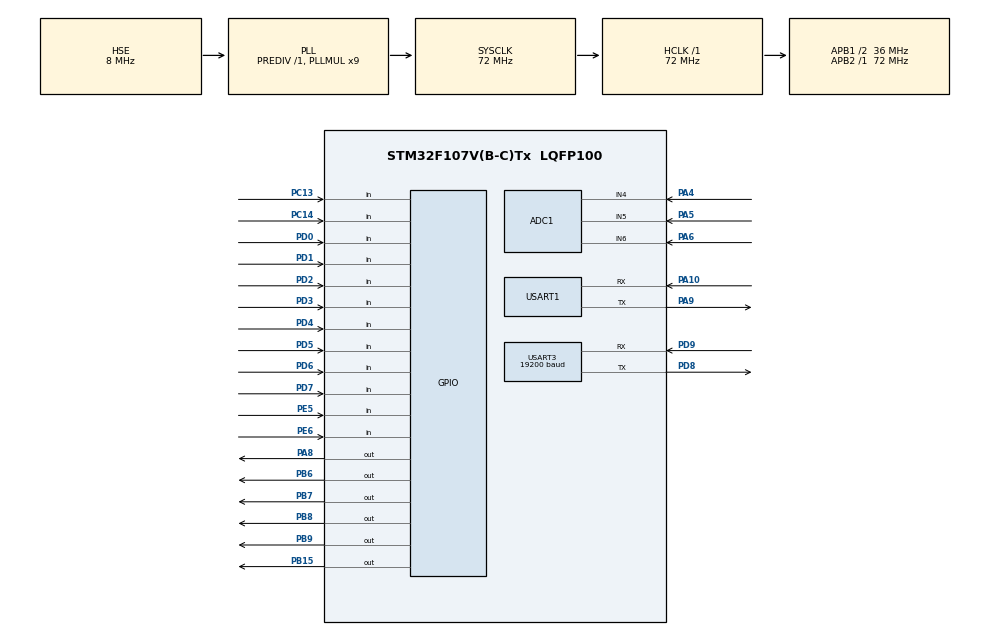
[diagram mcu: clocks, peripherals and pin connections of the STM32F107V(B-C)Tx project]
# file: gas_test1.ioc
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ADC1.Channel-0\#ChannelRegularConversion=ADC_CHANNEL_4
ADC1.Channel-1\#ChannelRegularConversion=ADC_CHANNEL_5
ADC1.Channel-2\#ChannelRegularConversion=ADC_CHANNEL_6
ADC1.ContinuousConvMode=DISABLE
ADC1.DiscontinuousConvMode=DISABLE
ADC1.NbrOfConversion=3
ADC1.NbrOfConversionFlag=1
ADC1.Rank-0\#ChannelRegularConversion=1
ADC1.Rank-1\#ChannelRegularConversion=2
ADC1.Rank-2\#ChannelRegularConversion=3
ADC1.SamplingTime-0\#ChannelRegularConversion=ADC_SAMPLETIME_239CYCLES_5
ADC1.SamplingTime-1\#ChannelRegularConversion=ADC_SAMPLETIME_239CYCLES_5
ADC1.SamplingTime-2\#ChannelRegularConversion=ADC_SAMPLETIME_239CYCLES_5
ADC1.master=1
Mcu.Family=STM32F1
Mcu.Name=STM32F107V(B-C)Tx
Mcu.Package=LQFP100
NVIC.ADC1_2_IRQn=true\:0\:0\:false\:false\:true\:true\:true\:true
NVIC.PriorityGroup=NVIC_PRIORITYGROUP_4
NVIC.TIM2_IRQn=true\:0\:0\:false\:false\:true\:true\:true\:true
NVIC.USART3_IRQn=true\:0\:0\:false\:false\:true\:true\:true\:true
OSC_IN.Mode=HSE-External-Oscillator
OSC_IN.Signal=RCC_OSC_IN
OSC_OUT.Mode=HSE-External-Oscillator
OSC_OUT.Signal=RCC_OSC_OUT
PA10.GPIO_PuPd=GPIO_PULLUP
PA10.Mode=Asynchronous
PA10.Signal=USART1_RX
PA13.Mode=Serial_Wire
PA13.Signal=SYS_JTMS-SWDIO
PA14.Mode=Serial_Wire
PA14.Signal=SYS_JTCK-SWCLK
PA4.Signal=ADCx_IN4
PA5.Signal=ADCx_IN5
PA6.Signal=ADCx_IN6
PA8.Signal=GPIO_Output
PA9.Mode=Asynchronous
PA9.Signal=USART1_TX
PB15.Signal=GPIO_Output
PB6.Signal=GPIO_Output
PB7.Signal=GPIO_Output
PB8.Signal=GPIO_Output
PB9.Signal=GPIO_Output
PC13-TAMPER-RTC.Signal=GPIO_Input
PC14-OSC32_IN.Signal=GPIO_Input
PD0.Signal=GPIO_Input
PD1.Signal=GPIO_Input
PD2.Signal=GPIO_Input
PD3.Signal=GPIO_Input
PD4.Signal=GPIO_Input
PD5.Signal=GPIO_Input
PD6.Signal=GPIO_Input
PD7.Signal=GPIO_Input
PD8.Mode=Asynchronous
PD8.Signal=USART3_TX
PD9.GPIO_PuPd=GPIO_PULLUP
PD9.Mode=Asynchronous
PD9.Signal=USART3_RX
PE5.GPIO_PuPd=GPIO_NOPULL
PE5.Signal=GPIO_Input
PE6.Signal=GPIO_Input
ProjectManager.HeapSize=0x200
ProjectManager.StackSize=0x400
ProjectManager.TargetToolchain=STM32CubeIDE
RCC.ADCPresc=RCC_ADCPCLK2_DIV6
RCC.AHBFreq_Value=72000000
RCC.APB1CLKDivider=RCC_HCLK_DIV2
RCC.APB1Freq_Value=36000000
RCC.APB1TimFreq_Value=72000000
RCC.APB2Freq_Value=72000000
RCC.APB2TimFreq_Value=72000000
RCC.HCLKFreq_Value=72000000
RCC.PLLMUL=RCC_PLL_MUL9
RCC.PLLSourceVirtual=RCC_PLLSOURCE_HSE
RCC.SYSCLKFreq_VALUE=72000000
RCC.SYSCLKSource=RCC_SYSCLKSOURCE_PLLCLK
RCC.USBFreq_Value=48000000
SH.ADCx_IN4.0=ADC1_IN4,IN4
SH.ADCx_IN5.0=ADC1_IN5,IN5
SH.ADCx_IN6.0=ADC1_IN6,IN6
TIM2.AutoReloadPreload=TIM_AUTORELOAD_PRELOAD_ENABLE
TIM2.ClockDivision=TIM_CLOCKDIVISION_DIV4
TIM2.CounterMode=TIM_COUNTERMODE_DOWN
TIM2.Period=100
TIM2.Prescaler=7199
USART1.VirtualMode=VM_ASYNC
USART3.BaudRate=19200
USART3.Parity=PARITY_EVEN
USART3.VirtualMode=VM_ASYNC
USART3.WordLength=WORDLENGTH_9B
VP_TIM2_VS_ClockSourceINT.Mode=Internal
board=custom

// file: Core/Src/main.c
/* USER CODE BEGIN Header */
/**
  ******************************************************************************
  * @file           : main.c
  * @brief          : Main program body
  ******************************************************************************
  * @attention
  *
  * Copyright (c) 2025 STMicroelectronics.
  * All rights reserved.
  *
  * This software is licensed under terms that can be found in the LICENSE file
  * in the root directory of this software component.
  * If no LICENSE file comes with this software, it is provided AS-IS.
  *
  ******************************************************************************
  */
/* USER CODE END Header */
#include "main.h"
#include "adc.h"
#include "tim.h"
#include "usart.h"
#include "gpio.h"

/* USER CODE BEGIN Includes */
#include "TS_commu.h"
/* USER CODE END Includes */

void SystemClock_Config(void);
/* USER CODE BEGIN PFP */
// ⭐ 백그라운드 작업 처리 함수 선언 추가
void ProcessBackgroundTasks(void);
/* USER CODE END PFP */

/* USER CODE BEGIN 0 */
uint16_t adcdata1, adcdata2, adcdata3, adcCnt=0;
uint8_t sw2, sw1, sw0;
// DMA가 변환 결과를 저장할 버퍼 (3채널용)
// uint16_t adc_dma_buffer[3];  // [0] = PA4, [1] = PA5, [2] = PA6

#include "stm32f1xx_hal_adc.h"
/* USER CODE END 0 */

int main(void)
{

  /* USER CODE BEGIN 1 */
  init_TS_commu();
  /* USER CODE END 1 */

  /* MCU Configuration--------------------------------------------------------*/

  /* Reset of all peripherals, Initializes the Flash interface and the Systick. */
  HAL_Init();

  /* Configure the system clock */
  SystemClock_Config();

  /* Initialize all configured peripherals */
  MX_GPIO_Init();
  MX_ADC1_Init();
  MX_USART1_UART_Init();
  MX_USART3_UART_Init();
  MX_TIM2_Init();
  /* USER CODE BEGIN 2 */

  start_TS_commu();
  HAL_TIM_Base_Start_IT(&htim2);
/*
//★★★ DMA를 사용한 ADC 시작 ★★★
  if (HAL_ADC_Start_DMA(&hadc1, (uint32_t*)adc_dma_buffer, 3) != HAL_OK)
  {
    Error_Handler();  // DMA 시작 실패 시 에러 처리
  }
*/
  /* USER CODE END 2 */

  /* Infinite loop */
  while (1)
  {

    /* USER CODE BEGIN 3 */
	  // ⭐⭐⭐ 백그라운드 작업 처리 - Timer 인터럽트에서 이동한 무거운 작업들 ⭐⭐⭐
	  ProcessBackgroundTasks();

	  if(TestFlash) {
		  if(TestFlash == 1) {
			  ReadFlash((uint32_t*)&fParam);
			  ReadFlashParam();  // 읽은 후 변수 업데이트 (이 줄 추가)
		  }
		  else if(TestFlash == 3) EraseFlash();
		  else {
			  SaveFlashParam();  // 현재 설정값을 저장 (기존 WriteFlash 대신)
//			  WriteFlash((uint32_t*)&fParam);
		  }
		  TestFlash = 0;
	  }

//	  HAL_ADC_Start_IT(hadc1);
	  ADC_ChannelConfTypeDef sConfig = {0};
	  sConfig.Channel = ADC_CHANNEL_4;
	  sConfig.Rank = ADC_REGULAR_RANK_1;
	  sConfig.SamplingTime = ADC_SAMPLETIME_239CYCLES_5;
	  if (HAL_ADC_ConfigChannel(&hadc1, &sConfig) != HAL_OK)
	  {
	    Error_Handler();
	  }
	  adcCnt++;
	  HAL_ADC_Start(&hadc1);
	  while(HAL_ADC_PollForConversion(&hadc1, 100)!=HAL_OK);
	  adcdata1 = HAL_ADC_GetValue(&hadc1);
/*
	  while(1){
	  	  if(HAL_ADC_PollForConversion(&hadc1, 100)==HAL_OK) {
	  	  	  adcdata1 = HAL_ADC_GetValue(&hadc1);
	  	  }
	  }

 */
	  sConfig.Channel = ADC_CHANNEL_5;
	  if (HAL_ADC_ConfigChannel(&hadc1, &sConfig) != HAL_OK)
	  {
	    Error_Handler();
	  }
	  adcCnt++;
	  HAL_ADC_Start(&hadc1);
	  while(HAL_ADC_PollForConversion(&hadc1, 100)!=HAL_OK);
	  adcdata2 = HAL_ADC_GetValue(&hadc1);

	  sConfig.Channel = ADC_CHANNEL_6;
	  if (HAL_ADC_ConfigChannel(&hadc1, &sConfig) != HAL_OK)
	  {
	    Error_Handler();
	  }
	  adcCnt++;
	  HAL_ADC_Start(&hadc1);
	  while(HAL_ADC_PollForConversion(&hadc1, 100)!=HAL_OK);
	  adcdata3 = HAL_ADC_GetValue(&hadc1);
	  adcCnt+=7;

      // ===== 🎛️ ADC 값을 실제 센서값으로 변환 =====
      // 4~20mA: 818 ~ 4096 범위
      // ⭐ ADC 값 처리는 TS_commu.c의 함수로 위임
      ProcessADCValues(adcdata3, adcdata2, adcdata1);

/*
      // 🔥 시뮬레이션 모드가 아닐 때만 실제 ADC 값 사용
      if(!simulation_mode) {
          float PT1scale = (float)(PT1.MaxSValue - PT1.MinSValue) / (4096 - 819);
          if(adcdata3 > 819) {
              PT1.Value = (uint16_t)(10 * ((adcdata3 - 819) * PT1scale + PT1.MinSValue));
              PT1.Value = PT1.Value + PT1.Offset;
              // 그래프 값도 동기화
              GraphPT1.Value = PT1.Value;
          }

          // PT2도 필요하면 활성화
          float PT2scale = (float)(PT2.MaxSValue - PT2.MinSValue) / (4096 - 819);
          if(adcdata2 > 819) {
              PT2.Value = (uint16_t)(10 * ((adcdata2 - 819) * PT2scale + PT2.MinSValue));
              PT2.Value = PT2.Value + PT2.Offset;
              GraphPT2.Value = PT2.Value;
          }
          // PT3 공급 압력 (예: adcdata1 사용)
          float PT3scale = (float)(PT3.MaxSValue - PT3.MinSValue) / (4096 - 819);
          if(adcdata1 > 819) {
              PT3.Value = (uint16_t)(10 * ((adcdata1 - 819) * PT3scale + PT3.MinSValue));
              PT3.Value = PT3.Value + PT3.Offset;
          }
      }
      // 🎮 시뮬레이션 모드일 때는 ADC 값 무시하고 가상 값 사용
      // (ProcessBackgroundTasks()에서 자동으로 처리됨)
*/
	  sw0 = HAL_GPIO_ReadPin(GPIOD, GPIO_PIN_4);
	  sw0 |= HAL_GPIO_ReadPin(GPIOD, GPIO_PIN_5) ? 2 : 0;
	  sw0 |= HAL_GPIO_ReadPin(GPIOD, GPIO_PIN_6) ? 4 : 0;
	  sw0 |= HAL_GPIO_ReadPin(GPIOD, GPIO_PIN_7) ? 8 : 0;

	  sw0 |= HAL_GPIO_ReadPin(GPIOD, GPIO_PIN_3) ? 0x10 : 0;
	  sw0 |= HAL_GPIO_ReadPin(GPIOD, GPIO_PIN_1) ? 0x20 : 0;
	  sw0 |= HAL_GPIO_ReadPin(GPIOD, GPIO_PIN_2) ? 0x40 : 0;
	  sw0 |= HAL_GPIO_ReadPin(GPIOD, GPIO_PIN_0) ? 0x80 : 0;

	  sw2 = sw0 & 0x0F;
	  sw1 = (sw0 >> 4) & 0x0F;
  }
  /* USER CODE END 3 */
}

void SystemClock_Config(void)
{
  RCC_OscInitTypeDef RCC_OscInitStruct = {0};
  RCC_ClkInitTypeDef RCC_ClkInitStruct = {0};
  RCC_PeriphCLKInitTypeDef PeriphClkInit = {0};

  /** Initializes the RCC Oscillators according to the specified parameters
  * in the RCC_OscInitTypeDef structure.
  */
  RCC_OscInitStruct.OscillatorType = RCC_OSCILLATORTYPE_HSE;
  RCC_OscInitStruct.HSEState = RCC_HSE_ON;
  RCC_OscInitStruct.HSEPredivValue = RCC_HSE_PREDIV_DIV1;
  RCC_OscInitStruct.HSIState = RCC_HSI_ON;
  RCC_OscInitStruct.Prediv1Source = RCC_PREDIV1_SOURCE_HSE;
  RCC_OscInitStruct.PLL.PLLState = RCC_PLL_ON;
  RCC_OscInitStruct.PLL.PLLSource = RCC_PLLSOURCE_HSE;
  RCC_OscInitStruct.PLL.PLLMUL = RCC_PLL_MUL9;
  RCC_OscInitStruct.PLL2.PLL2State = RCC_PLL_NONE;
  if (HAL_RCC_OscConfig(&RCC_OscInitStruct) != HAL_OK)
  {
    Error_Handler();
  }

  /** Initializes the CPU, AHB and APB buses clocks
  */
  RCC_ClkInitStruct.ClockType = RCC_CLOCKTYPE_HCLK|RCC_CLOCKTYPE_SYSCLK
                              |RCC_CLOCKTYPE_PCLK1|RCC_CLOCKTYPE_PCLK2;
  RCC_ClkInitStruct.SYSCLKSource = RCC_SYSCLKSOURCE_PLLCLK;
  RCC_ClkInitStruct.AHBCLKDivider = RCC_SYSCLK_DIV1;
  RCC_ClkInitStruct.APB1CLKDivider = RCC_HCLK_DIV2;
  RCC_ClkInitStruct.APB2CLKDivider = RCC_HCLK_DIV1;

  if (HAL_RCC_ClockConfig(&RCC_ClkInitStruct, FLASH_LATENCY_2) != HAL_OK)
  {
    Error_Handler();
  }
  PeriphClkInit.PeriphClockSelection = RCC_PERIPHCLK_ADC;
  PeriphClkInit.AdcClockSelection = RCC_ADCPCLK2_DIV6;
  if (HAL_RCCEx_PeriphCLKConfig(&PeriphClkInit) != HAL_OK)
  {
    Error_Handler();
  }

  /** Configure the Systick interrupt time
  */
  __HAL_RCC_PLLI2S_ENABLE();
}

/* USER CODE BEGIN 4 */
/*
void HAL_ADC_ConvCpltCallback(ADC_HandleTypeDef* hadc)
{
  if(hadc->Instance == ADC1)
  {
    // 💡 순서: adc_dma_buffer[0] = PA4, [1] = PA5, [2] = PA6
    uint16_t adc1 = adc_dma_buffer[0];  // PA4
    uint16_t adc2 = adc_dma_buffer[1];  // PA5
    uint16_t adc3 = adc_dma_buffer[2];  // PA6

    // 💡 기존 프로젝트 함수 사용 (TS_commu.c 내부)
    ProcessADCValues(adc3, adc2, adc1);
  }
}
*/
/* USER CODE END 4 */

void Error_Handler(void)
{
  __disable_irq();
  while (1)
  {
  }
}
